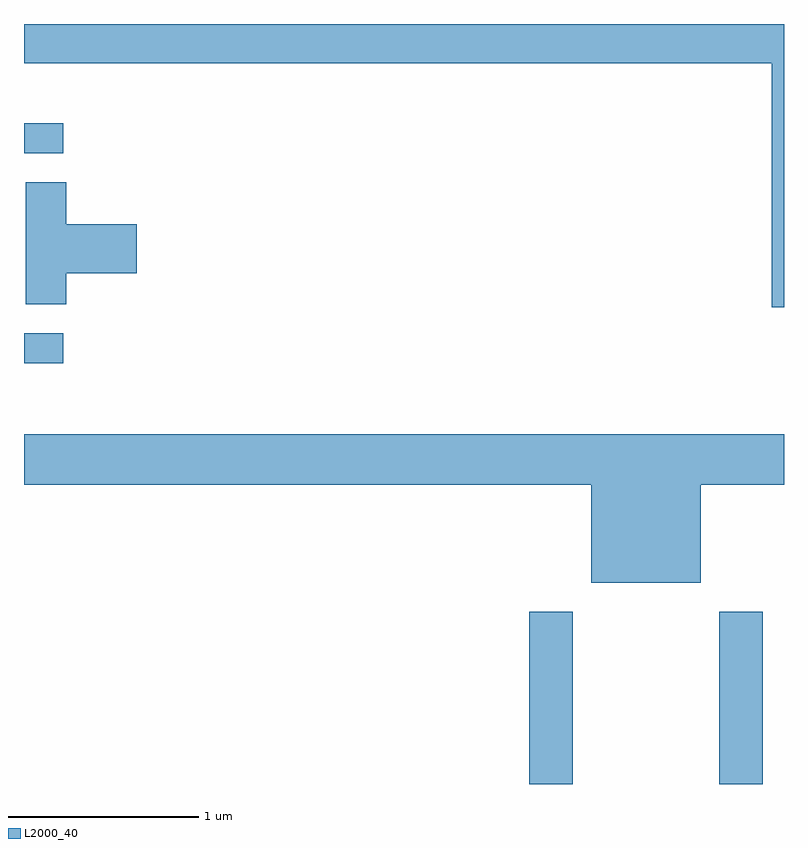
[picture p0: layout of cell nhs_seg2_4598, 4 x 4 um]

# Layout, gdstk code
import gdstk
lib = gdstk.Library(unit=1e-6, precision=1e-09)
def R(c, l, rs):  # rectangles x0, y0, x1, y1
    for r in rs: c.add(gdstk.rectangle(r[:2], r[2:], *l))
def P(c, l, *ps):  # polygons
    for p in ps: c.add(gdstk.Polygon(p, *l))
L2000_40 = (2000, 40)

nhs_seg2_4598 = lib.new_cell('nhs_seg2_4598')
R(nhs_seg2_4598, L2000_40, [(322.271,1097.802,322.499,1098.709), (323.271,1097.802,323.499,1098.709), (319.611,1100.016,319.818,1100.174), (319.611,1101.121,319.818,1101.279)])
P(nhs_seg2_4598, L2000_40, [(319.611,1101.596),(323.546,1101.596),(323.546,1100.311),(323.611,1100.311),(323.611,1101.802),(319.611,1101.802)],
  [(319.834,1100.491),(320.204,1100.491),(320.204,1100.749),(319.834,1100.749),(319.834,1100.969),(319.621,1100.969),(319.621,1100.326),(319.834,1100.326)],
  [(323.174,1099.376),(323.611,1099.376),(323.611,1099.644),(319.611,1099.644),(319.611,1099.376),(322.596,1099.376),(322.596,1098.861),(323.174,1098.861)])

lib.write_gds('nhs_seg2_4598.gds')
